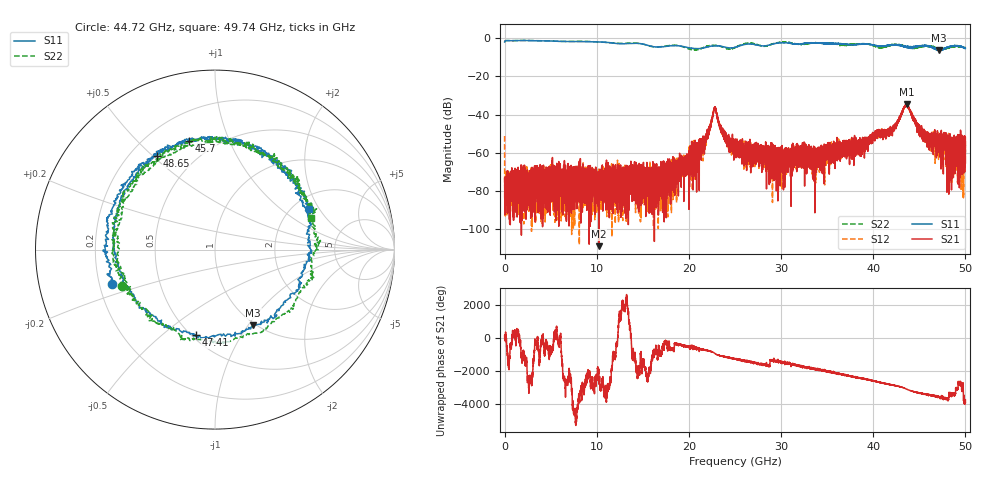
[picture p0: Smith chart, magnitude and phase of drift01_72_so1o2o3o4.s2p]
!Created with skrf (http://scikit-rf.org).
# Hz S RI R 50.0
!freq ReS11 ImS11 ReS21 ImS21 ReS12 ImS12 ReS22 ImS22
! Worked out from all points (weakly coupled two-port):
!   10001 points, 300 kHz to 50 GHz, reference 50 ohm
!   highest |S21| = -34.74 dB at 43.67 GHz (marker M1); lowest = -108.7 dB at 10.24 GHz (marker M2)
!   lowest |S11| = -6.5 dB at 47.12 GHz (marker M3), VSWR 2.78, Z = 48.8 - j52.7 ohm
!   |S11| at or under -10 dB: nowhere
!   |S22| runs from -6.4 to -1.4 dB; largest |S21 - S12| = 0.0037
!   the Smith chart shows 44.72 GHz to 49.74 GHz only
!   S11 on the Smith chart (normalised r, x): 44.72 GHz: 0.25, -0.15; 45.7 GHz: 0.36, +0.72; 47.41 GHz: 0.52, -0.66; 48.65 GHz: 0.31, +0.52; 49.74 GHz: 2.42, +1.61
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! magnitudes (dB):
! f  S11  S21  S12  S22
! 300 kHz  -2.1  -73.4  -51.2  -2.1
! 255.3 MHz  -1.4  -71.3  -77.4  -1.4
! 8.335 GHz  -1.9  -73.5  -71.0  -1.8
! 10.24 GHz  -2.1  -108.7  -72.1  -2.1
! 16.67 GHz  -4.8  -73.1  -80.1  -4.8
! 20.94 GHz  -5.6  -61.9  -56.5  -6.1
! 21.76 GHz  -5.0  -52.4  -55.6  -4.7
! 22.8 GHz  -4.3  -36.3  -36.0  -4.0
! 23.76 GHz  -4.6  -49.6  -50.7  -5.1
! 25 GHz  -5.0  -56.2  -56.9  -5.0
! 30.07 GHz  -2.5  -63.5  -66.6  -2.3
! 31.55 GHz  -3.2  -61.7  -64.7  -3.1
! 33.34 GHz  -2.6  -57.7  -59.3  -2.7
! 41.67 GHz  -3.9  -48.2  -49.3  -4.1
! 43.67 GHz  -4.8  -34.7  -35.4  -4.7
! 44.72 GHz  -4.4  -44.7  -45.4  -5.1
! 45.7 GHz  -4.1  -49.3  -49.1  -4.1
! 47.12 GHz  -6.5  -50.7  -53.0  -5.7
! 47.41 GHz  -6.2  -54.0  -50.9  -5.9
! 48.65 GHz  -4.2  -53.1  -60.0  -4.6
! 49.74 GHz  -4.9  -53.7  -65.2  -5.0
! 50 GHz  -5.5  -65.3  -53.6  -5.2
